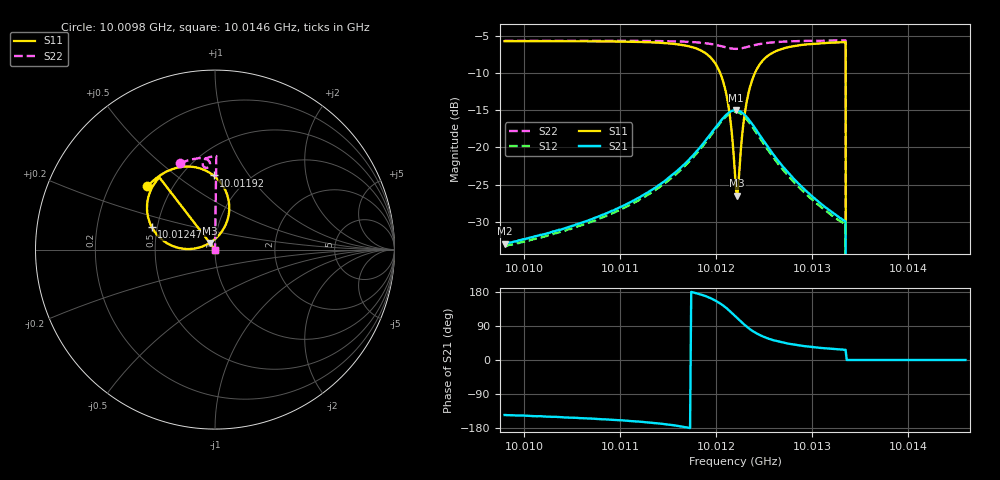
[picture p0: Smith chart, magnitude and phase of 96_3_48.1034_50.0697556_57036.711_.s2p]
#  HZ  S  RI  R  50.00
! Rohde & Schwarz Vector Network Analyzer
! Rohde-Schwarz,ZNB20-2Port,1311601062101988,3.16
! Created: UTC 12/23/2023, 3:44:17 AM
! freq[Hz]  re:S11  im:S11  re:S21  im:S21  re:S12  im:S12  re:S22  im:S22
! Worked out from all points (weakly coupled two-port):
!   401 points, 10.0098 GHz to 10.0146 GHz, reference 50 ohm
!   highest |S21| = -15.00 dB at 10.01221 GHz (marker M1); lowest = -32.9 dB at 10.0098 GHz (marker M2)
!   lowest |S11| = -26.5 dB at 10.01222 GHz (marker M3), VSWR 1.10, Z = 47 + j3.48 ohm
!   |S11| at or under -10 dB: 10.01204 GHz to 10.01241 GHz (364.1 kHz wide, 0.00364 % of centre); 10.01335 GHz to end of sweep
!   |S22| runs from - to -5.7 dB; largest |S21 - S12| = 0.0087
!   S11 on the Smith chart (normalised r, x): 10.0098 GHz: 0.36, +0.35; 10.01192 GHz: 0.70, +0.70; 10.01247 GHz: 0.47, +0.14; 10.0146 GHz: 1.00, +0.00
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1.0009796e10  -0.3762 0.3528  -0.0186 -0.0129  -0.0172 -0.0134  -0.1938 0.4808
1.0010601e10  -0.3207 0.4033  -0.0279 -0.0139  -0.0262 -0.0147  -0.1427 0.499
1.0011405e10  -0.2159 0.455  -0.0545 -0.0121  -0.0518 -0.0141  -0.0843 0.5097
1.0011741e10  -0.1105 0.459  -0.0856 0.000632  -0.0828 -0.00357  -0.0537 0.5063
1.0011922e10  -0.00829 0.413  -0.1142 0.0293  -0.1122 0.0226  -0.0352 0.4954
1.001203e10  0.0603 0.3246  -0.1274 0.0697  -0.1277 0.0616  -0.0276 0.4808
1.0012102e10  0.0793 0.222  -0.123 0.1089  -0.1244 0.1014  -0.0291 0.4679
1.001215e10  0.0602 0.14  -0.1062 0.1375  -0.1093 0.1297  -0.035 0.46
1.0012198e10  0.00757 0.0655  -0.0784 0.1596  -0.0824 0.1528  -0.0442 0.4557
1.001221e10  -0.0109 0.0498  -0.0699 0.1636  -0.0742 0.1567  -0.0469 0.4554
1.0012222e10  -0.0296 0.037  -0.0616 0.1662  -0.0655 0.1599  -0.0497 0.4554
1.0012234e10  -0.0511 0.0253  -0.0527 0.1683  -0.0565 0.1621  -0.052 0.4558
1.0012294e10  -0.1597 0.00332  -0.0102 0.1659  -0.0151 0.1602  -0.063 0.4619
1.001233e10  -0.2179 0.0137  0.0111 0.1566  0.00615 0.1512  -0.0669 0.468
1.001239e10  -0.2934 0.0539  0.0358 0.1349  0.03 0.1305  -0.069 0.4787
1.0012474e10  -0.352 0.1249  0.0512 0.1042  0.046 0.1012  -0.0656 0.4915
1.0012702e10  -0.3769 0.2653  0.0514 0.0527  0.0469 0.0522  -0.0456 0.5099
1.0013002e10  -0.3469 0.3523  0.0387 0.0266  0.0356 0.0269  -0.0194 0.5182
1.0013326e10  -0.3124 0.3999  0.0289 0.0148  0.0268 0.0155  0.00568 0.5213
1.0013387e10  0 0  0 0  0 0  0 0
1.0013807e10  0 0  0 0  0 0  0 0
1.0014599e10  0 0  0 0  0 0  0 0
